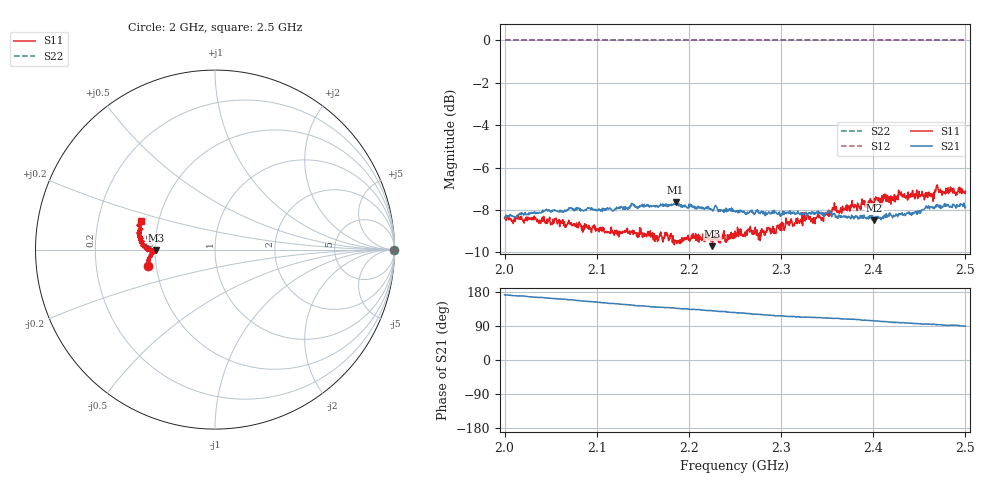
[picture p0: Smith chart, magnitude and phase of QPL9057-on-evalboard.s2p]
!	created	by	azisi	at	Mon	Jul	20	18:52:19	EEST	2020
!	generated	using	vna/J	Version	3.4.3
#	Hz	S	DB	R	50
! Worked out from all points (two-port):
!   1014 points, 2 GHz to 2.5 GHz, reference 50 ohm
!   highest |S21| = -7.64 dB at 2.186 GHz (marker M1); lowest = -8.5 dB at 2.401 GHz (marker M2)
!   |S21| within 3 dB of the highest: start of sweep to end of sweep
!   lowest |S11| = -9.7 dB at 2.226 GHz (marker M3), VSWR 1.97, Z = 25.3 - j0.231 ohm
!   |S11| at or under -10 dB: nowhere
!   |S22| runs from 0.0 to 0.0 dB; largest |S21 - S12| = 1.4
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2e9  -8.36 -166.5  -8.37 172.0  0.00 0.0  0.00 0.0
2.046397e9  -8.63 -169.7  -8.03 163.4  0.00 0.0  0.00 0.0
2.083415e9  -8.88 -173.0  -8.01 156.2  0.00 0.0  0.00 0.0
2.166831e9  -9.43 -177.4  -7.86 139.2  0.00 0.0  0.00 0.0
2.178183e9  -9.45 -179.1  -7.74 138.3  0.00 0.0  0.00 0.0
2.185587e9  -9.43 -178.7  -7.64 136.5  0.00 0.0  0.00 0.0
2.204837e9  -9.15 -177.9  -7.87 133.7  0.00 0.0  0.00 0.0
2.225567e9  -9.70 -179.3  -7.99 129.7  0.00 0.0  0.00 0.0
2.250246e9  -9.00 -177.8  -8.09 125.3  0.00 0.0  0.00 0.0
2.266041e9  -9.04 -179.4  -8.07 122.2  0.00 0.0  0.00 0.0
2.275912e9  -9.31 -179.0  -8.15 120.4  0.00 0.0  0.00 0.0
2.307502e9  -8.56 -178.7  -8.10 114.8  0.00 0.0  0.00 0.0
2.333661e9  -8.41 179.5  -8.10 112.5  0.00 0.0  0.00 0.0
2.34452e9  -8.36 178.5  -8.17 111.6  0.00 0.0  0.00 0.0
2.357847e9  -7.66 177.0  -8.16 110.1  0.00 0.0  0.00 0.0
2.37068e9  -7.79 177.1  -8.31 107.9  0.00 0.0  0.00 0.0
2.401282e9  -7.47 172.8  -8.49 103.5  0.00 0.0  0.00 0.0
2.417077e9  -7.64 170.1  -8.29 100.4  0.00 0.0  0.00 0.0
2.42991e9  -7.19 169.4  -8.18 98.0  0.00 0.0  0.00 0.0
2.463473e9  -7.24 163.6  -7.86 93.7  0.00 0.0  0.00 0.0
2.470384e9  -7.02 162.5  -7.83 93.0  0.00 0.0  0.00 0.0
2.499999e9  -7.11 158.8  -7.88 89.5  0.00 0.0  0.00 0.0
